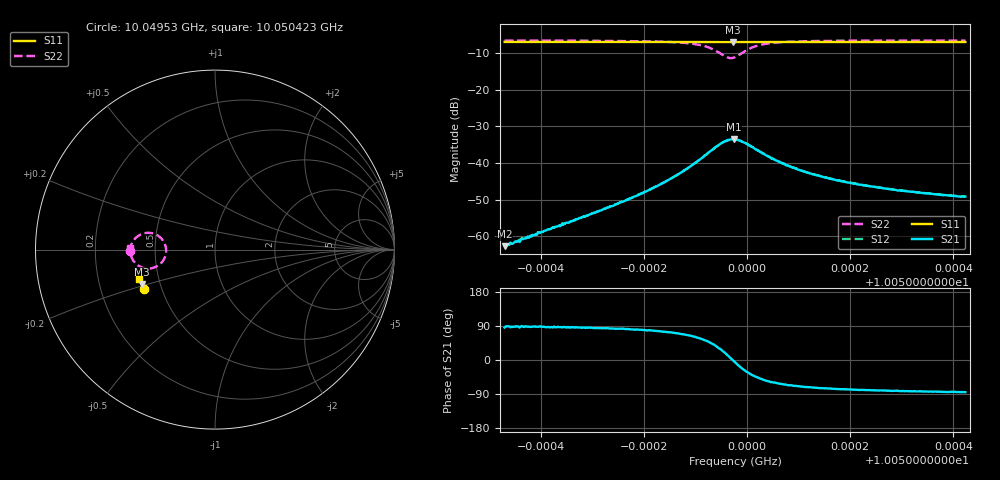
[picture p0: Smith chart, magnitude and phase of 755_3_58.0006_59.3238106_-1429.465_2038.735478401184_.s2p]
#  HZ  S  RI  R  50.00
! Rohde & Schwarz Vector Network Analyzer
! Rohde-Schwarz,ZNB20-2Port,1311601062101988,3.16
! Created: UTC 3/21/2024, 1:24:10 AM
! freq[Hz]  re:S11  im:S11  re:S21  im:S21  re:S12  im:S12  re:S22  im:S22
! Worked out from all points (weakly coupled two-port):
!   401 points, 10.04953 GHz to 10.050423 GHz, reference 50 ohm
!   highest |S21| = -33.51 dB at 10.049974 GHz (marker M1); lowest = -62.8 dB at 10.04953 GHz (marker M2)
!   lowest |S11| = -6.9 dB at 10.049972 GHz (marker M3), VSWR 2.64, Z = 19.7 - j9.5 ohm
!   |S11| at or under -10 dB: nowhere
!   |S22| runs from -11.3 to -6.5 dB; largest |S21 - S12| = 0.0015
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1.00495296e10  -0.3976 -0.2185  5.48e-05 0.000726  -1.27e-05 0.000755  -0.4737 -0.00962
1.00495408e10  -0.3978 -0.2178  5.38e-05 0.000812  -1.51e-05 0.000793  -0.4736 -0.00839
1.00495631e10  -0.3987 -0.2165  9.41e-06 0.000923  -3.16e-05 0.000938  -0.4734 -0.0059
1.00496793e10  -0.4021 -0.2095  0.000166 0.00181  1.96e-05 0.00182  -0.4708 0.0101
1.00497642e10  -0.4044 -0.2043  0.000434 0.00303  0.000275 0.00304  -0.4661 0.0274
1.00498289e10  -0.4064 -0.2003  0.00121 0.00486  0.000931 0.00495  -0.4558 0.0478
1.00498625e10  -0.407 -0.1983  0.0022 0.00638  0.00187 0.0065  -0.4436 0.0632
1.00498937e10  -0.4077 -0.1959  0.00427 0.00837  0.00386 0.00862  -0.4205 0.0811
1.00499138e10  -0.408 -0.1945  0.00694 0.0097  0.00642 0.0101  -0.3927 0.0915
1.00499317e10  -0.4081 -0.1933  0.011 0.0102  0.0104 0.0109  -0.3537 0.092
1.00499563e10  -0.4079 -0.1921  0.0186 0.00662  0.0182 0.00759  -0.2869 0.046
1.00499652e10  -0.4079 -0.1919  0.0206 0.00299  0.0202 0.0042  -0.2735 0.0105
1.00499719e10  -0.4079 -0.1917  0.021 -0.000253  0.0209 0.00119  -0.2731 -0.0194
1.00499742e10  -0.4078 -0.1919  0.0211 -0.0013  0.0209 0.000184  -0.2749 -0.0293
1.00499764e10  -0.4079 -0.1917  0.0209 -0.00232  0.0209 -0.000865  -0.2776 -0.0387
1.00499987e10  -0.4089 -0.1913  0.0157 -0.00941  0.0164 -0.00838  -0.3358 -0.099
1.005003e10  -0.4105 -0.1898  0.00836 -0.0105  0.00915 -0.0101  -0.4079 -0.0991
1.00500724e10  -0.412 -0.1871  0.00419 -0.00882  0.0046 -0.00842  -0.4472 -0.0716
1.00501261e10  -0.4138 -0.1836  0.00213 -0.00671  0.00257 -0.00665  -0.4636 -0.0467
1.00501886e10  -0.4154 -0.1798  0.00119 -0.0054  0.00155 -0.00535  -0.4701 -0.0283
1.00502757e10  -0.4174 -0.1744  0.000694 -0.00433  0.000932 -0.00433  -0.4735 -0.0114
1.00504232e10  -0.421 -0.1653  0.000306 -0.00346  0.000506 -0.00343  -0.4749 0.00776
